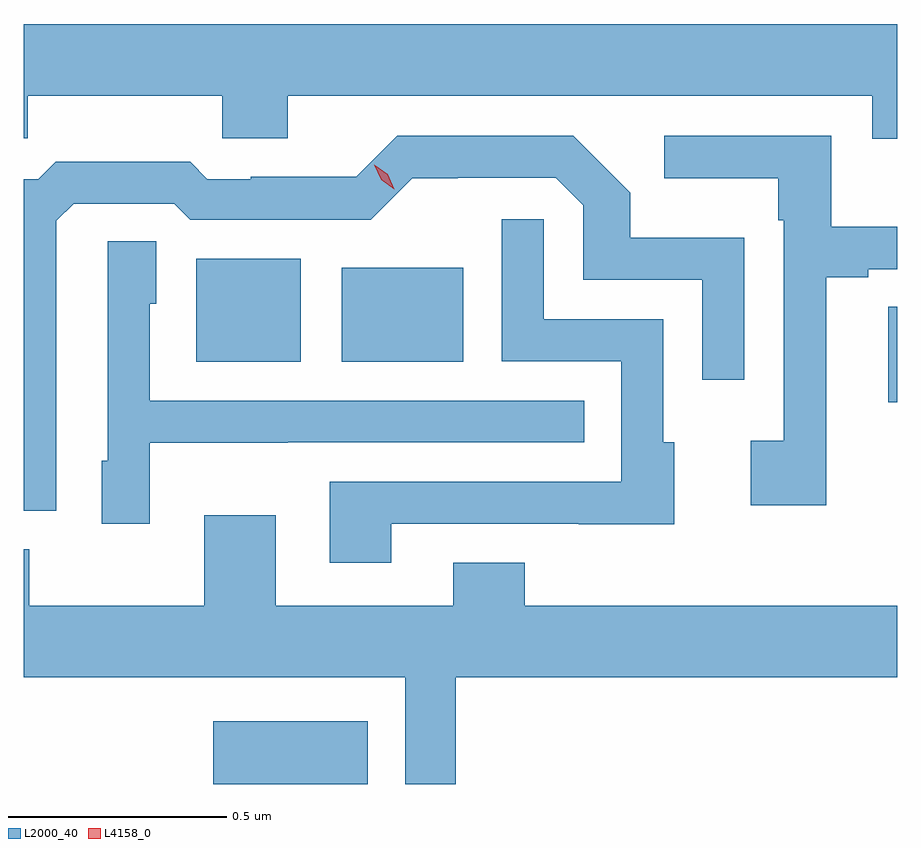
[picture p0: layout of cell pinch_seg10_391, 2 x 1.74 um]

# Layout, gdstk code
import gdstk
lib = gdstk.Library(unit=1e-6, precision=1e-09)
def R(c, l, rs):  # rectangles x0, y0, x1, y1
    for r in rs: c.add(gdstk.rectangle(r[:2], r[2:], *l))
def P(c, l, *ps):  # polygons
    for p in ps: c.add(gdstk.Polygon(p, *l))
L2000_40 = (2000, 40)
L4158_0 = (4158, 0)

pinch_seg10_391 = lib.new_cell('pinch_seg10_391')
R(pinch_seg10_391, L2000_40, [(641.768,1274.764,642.122,1274.908), (643.313,1275.638,643.334,1275.857), (641.729,1275.731,641.968,1275.967), (642.062,1275.731,642.34,1275.946)])
P(pinch_seg10_391, L2000_40, [(643.334,1276.504),(641.334,1276.504),(641.334,1276.242),(641.343,1276.242),(641.343,1276.34),(641.788,1276.34),(641.788,1276.242),(641.938,1276.242),(641.938,1276.34),(643.277,1276.34),(643.277,1276.241),(643.334,1276.241)],
  [(643.171,1275.924),(643.267,1275.924),(643.267,1275.942),(643.334,1275.942),(643.334,1276.04),(643.183,1276.04),(643.183,1276.248),(642.801,1276.248),(642.801,1276.151),(643.062,1276.151),(643.062,1276.055),(643.074,1276.055),(643.074,1275.55),(642.999,1275.55),(642.999,1275.402),(643.171,1275.402)],
  [(641.409,1276.053),(641.448,1276.092),(641.679,1276.092),(641.715,1276.056),(642.129,1276.056),(642.224,1276.151),(642.328,1276.151),(642.328,1276.152),(642.552,1276.152),(642.615,1276.089),(642.615,1275.918),(642.888,1275.918),(642.888,1275.69),(642.984,1275.69),(642.984,1276.015),(642.723,1276.015),(642.723,1276.118),(642.592,1276.248),(642.189,1276.248),(642.095,1276.154),(641.854,1276.154),(641.854,1276.149),(641.754,1276.149),(641.715,1276.189),(641.407,1276.189),(641.367,1276.149),(641.334,1276.149),(641.334,1275.39),(641.409,1275.39)],
  [(642.175,1275.36),(642.605,1275.36),(642.605,1275.359),(642.823,1275.359),(642.823,1275.546),(642.798,1275.546),(642.798,1275.828),(642.525,1275.828),(642.525,1276.057),(642.429,1276.057),(642.429,1275.732),(642.702,1275.732),(642.702,1275.456),(642.035,1275.456),(642.035,1275.27),(642.175,1275.27)],
  [(641.622,1275.545),(641.939,1275.545),(641.939,1275.546),(642.617,1275.546),(642.617,1275.642),(641.622,1275.642),(641.622,1275.864),(641.638,1275.864),(641.638,1276.007),(641.526,1276.007),(641.526,1275.504),(641.513,1275.504),(641.513,1275.36),(641.622,1275.36)],
  [(642.323,1275.008),(643.334,1275.008),(643.334,1275.172),(642.481,1275.172),(642.481,1275.271),(642.317,1275.271),(642.317,1275.172),(641.911,1275.172),(641.911,1275.379),(641.747,1275.379),(641.747,1275.172),(641.347,1275.172),(641.347,1275.301),(641.334,1275.301),(641.334,1275.008),(642.207,1275.008),(642.207,1274.764),(642.323,1274.764)])
P(pinch_seg10_391, L4158_0, [(642.182,1276.126),(642.152,1276.147),(642.136,1276.182),(642.136,1276.182),(642.137,1276.182),(642.167,1276.16),(642.182,1276.126),(642.182,1276.126)])

lib.write_gds('pinch_seg10_391.gds')
